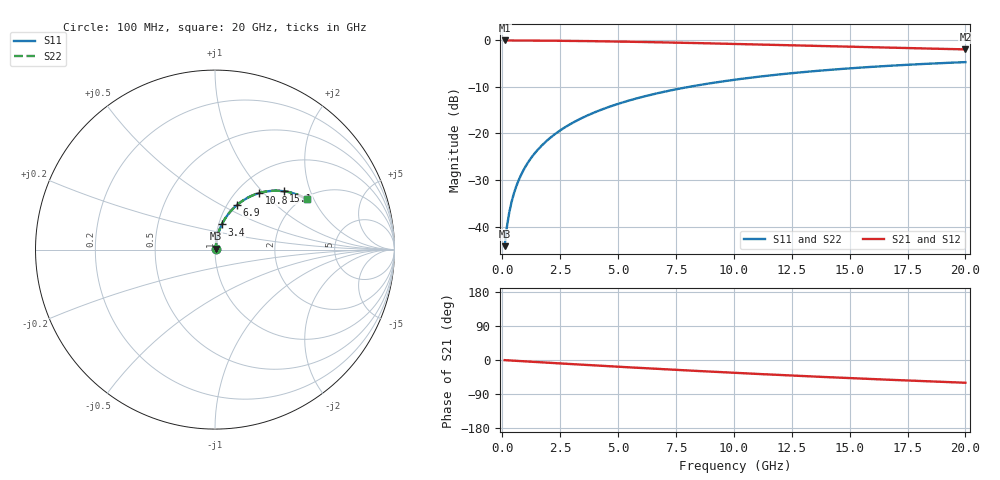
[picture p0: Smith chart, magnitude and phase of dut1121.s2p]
! Touchstone file exported from HFSS 2026.1.0
!  File:  C:/ffzhzh/LocalFiles/Ansys_Project_Files/temp_train_TMRDL_1121_1783161592_22436.aedt
!  Generated:  06:41:27 PM Jul  4, 2026
!  Design:  TMRDL
!  Project:  temp_train_TMRDL_1121_1783161592_22436
! Variables:
!  h_bsmrdl = 2um
!  h_ox = 20um
!  h_rdl = 5um
!  h_sub = 80um
!  h_tmrdl = 4.96um
!  h_tsv = 80um
!  h_via = 3um
!  l_bsmrdl = 300um
!  l_sub = 1300.74um
!  l_tmrdl = 900.74um
!  m_sub = 200um
!  pitch = 54.92um
!  r_tsv = 6um
!  s_tmrdl = 10um
!  w_bsmrdl = 18um
!  w_sub = 500um
!  w_tmrdl = 15.69um
!  x_tsv_center1 = 908.585um
!  x_tsv_center2 = 1226.585um
!  x_tsv_center3 = 2143.015um
!  x_tsv_center4 = 2461.015um
!  x_tsv_center5 = 3377.445um
!  x_tsv_center6 = 3695.445um
# GHz S MA R 50.000000
! Terminal data exported
! Port[1] = TM_RDL1_1_T1
! Port[2] = TM_RDL1_1_T2
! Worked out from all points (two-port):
!   200 points, 100 MHz to 20 GHz, reference 50 ohm
!   highest |S21| = -0.04 dB at 100 MHz (marker M1); lowest = -1.9 dB at 20 GHz (marker M2)
!   |S21| within 3 dB of the highest: start of sweep to end of sweep
!   lowest |S11| = -44.2 dB at 100 MHz (marker M3), VSWR 1.01, Z = 50.4 + j0.457 ohm
!   |S11| at or under -10 dB: start of sweep to 8.061 GHz
!   |S22| runs from -44.2 to -4.7 dB; largest |S21 - S12| = 2.7e-15
!   S11 on the Smith chart (normalised r, x): 100 MHz: 1.01, +0.01; 3.4 GHz: 1.04, +0.30; 6.9 GHz: 1.11, +0.60; 10.8 GHz: 1.26, +0.94; 15.1 GHz: 1.54, +1.33; 20 GHz: 2.09, +1.77
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0.1  0.006167 47.3  0.9958 -0.4  0.9958 -0.4  0.006167 47.3
! Gamma 0 0 0 0
! Port Impedance 50 0 50 0
0.2  0.01001 63.9  0.9957 -0.7  0.9957 -0.7  0.01001 63.9
0.3  0.01416 70.7  0.9955 -1.1  0.9955 -1.1  0.01416 70.7
0.4  0.01838 74.2  0.9953 -1.5  0.9953 -1.5  0.01838 74.2
0.5  0.02263 76.3  0.9951 -1.8  0.9951 -1.8  0.02263 76.3
0.7  0.03118 78.6  0.9947 -2.6  0.9947 -2.6  0.03118 78.6
1  0.04405 79.8  0.994 -3.7  0.994 -3.7  0.04405 79.8
1.4  0.06121 79.9  0.9929 -5.1  0.9929 -5.1  0.06121 80.0
2  0.08678 78.9  0.9905 -7.3  0.9905 -7.3  0.08678 78.9
2.6  0.112 77.3  0.9874 -9.4  0.9874 -9.4  0.112 77.4
3.4  0.1449 74.9  0.9822 -12.2  0.9822 -12.2  0.1449 74.9
3.5  0.1489 74.6  0.9815 -12.6  0.9815 -12.6  0.1489 74.6
5  0.2078 69.8  0.9693 -17.7  0.9693 -17.7  0.2078 69.8
6.8  0.2735 64.0  0.9514 -23.7  0.9514 -23.7  0.2735 64.1
6.9  0.277 63.7  0.9503 -24.0  0.9503 -24.0  0.277 63.8
8.4  0.3272 59.1  0.9334 -28.8  0.9334 -28.8  0.3272 59.2
10.1  0.3791 54.1  0.913 -34.0  0.913 -34.0  0.3791 54.2
10.8  0.399 52.0  0.9044 -36.1  0.9044 -36.1  0.399 52.2
13.4  0.465 44.8  0.8722 -43.5  0.8722 -43.5  0.4649 45.0
15.1  0.5018 40.4  0.8517 -48.0  0.8517 -48.0  0.5018 40.6
16.7  0.5322 36.4  0.8333 -52.1  0.8333 -52.1  0.5321 36.6
20  0.5831 28.6  0.7992 -60.0  0.7992 -60.0  0.583 28.8
